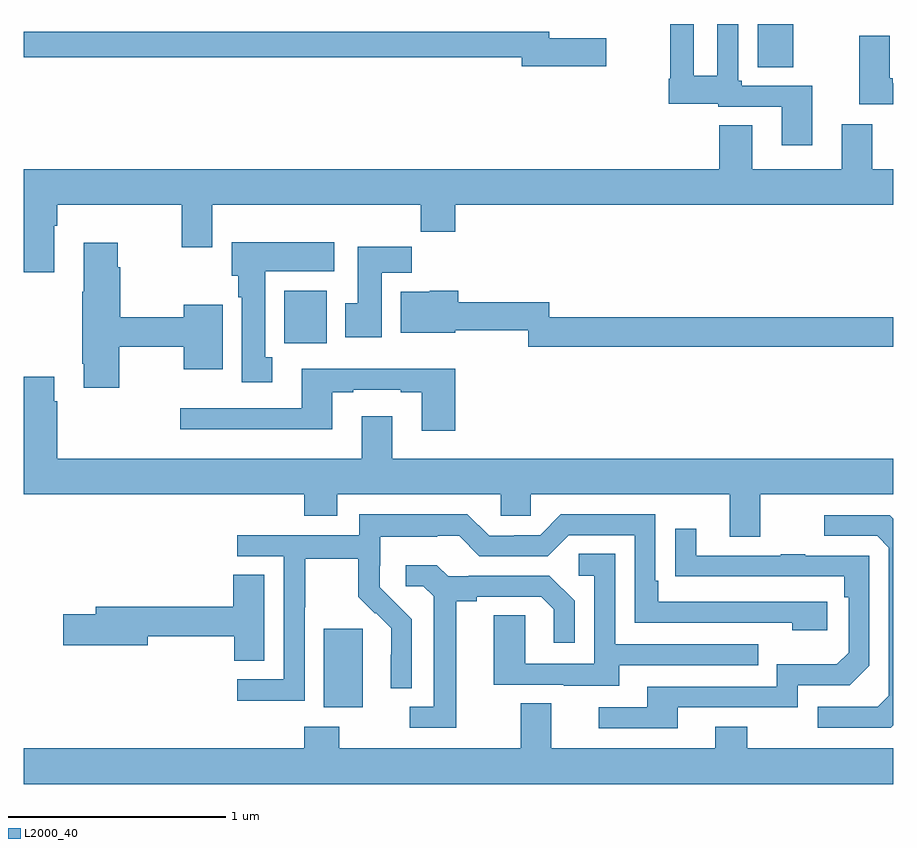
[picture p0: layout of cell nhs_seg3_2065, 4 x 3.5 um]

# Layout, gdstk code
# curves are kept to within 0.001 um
import gdstk
lib = gdstk.Library(unit=1e-6, precision=1e-09)
def R(c, l, rs):  # rectangles x0, y0, x1, y1
    for r in rs: c.add(gdstk.rectangle(r[:2], r[2:], *l))
def P(c, l, *ps):  # polygons
    for p in ps: c.add(gdstk.Polygon(p, *l))
L2000_40 = (2000, 40)

nhs_seg3_2065 = lib.new_cell('nhs_seg3_2065')
R(nhs_seg3_2065, L2000_40, [(218.381,713.258,218.56,713.619), (218.198,714.932,218.395,715.174), (220.376,716.2,220.54,716.4)])
P(nhs_seg3_2065, L2000_40, [(220.627,716.115),(220.302,716.115),(220.302,716.139),(220.287,716.139),(220.287,716.4),(220.191,716.4),(220.191,716.162),(220.083,716.162),(220.083,716.4),(219.975,716.4),(219.975,716.149),(219.967,716.149),(219.967,716.034),(220.194,716.034),(220.194,716.019),(220.487,716.019),(220.487,715.842),(220.627,715.842)],
  [(219.679,716.335),(219.418,716.335),(219.418,716.364),(217,716.364),(217,716.248),(219.29,716.248),(219.29,716.206),(219.679,716.206)],
  [(221,716.127),(220.998,716.127),(220.998,716.151),(220.984,716.151),(220.984,716.345),(220.844,716.345),(220.844,716.031),(221,716.031)],
  [(217.141,715.472),(217.154,715.472),(217.154,715.568),(217.727,715.568),(217.727,715.374),(217.867,715.374),(217.867,715.568),(218.827,715.568),(218.827,715.444),(218.984,715.444),(218.984,715.568),(221,715.568),(221,715.732),(220.903,715.732),(220.903,715.939),(220.763,715.939),(220.763,715.732),(220.351,715.732),(220.351,715.934),(220.199,715.934),(220.199,715.732),(217,715.732),(217,715.369),(217.001,715.369),(217.001,715.257),(217.141,715.257)],
  [(218.143,714.866),(218.11,714.866),(218.11,715.262),(218.428,715.262),(218.428,715.396),(217.958,715.396),(217.958,715.242),(217.988,715.242),(217.988,715.142),(218.003,715.142),(218.003,714.753),(218.143,714.753)],
  [(217.44,714.916),(217.736,714.916),(217.736,714.812),(217.915,714.812),(217.915,715.108),(217.736,715.108),(217.736,715.052),(217.445,715.052),(217.445,715.28),(217.432,715.28),(217.432,715.393),(217.277,715.393),(217.277,715.169),(217.27,715.169),(217.27,714.838),(217.277,714.838),(217.277,714.726),(217.44,714.726)],
  [(218.647,715.256),(218.786,715.256),(218.786,715.375),(218.537,715.375),(218.537,715.116),(218.48,715.116),(218.48,714.96),(218.647,714.96)],
  [(221,715.052),(219.417,715.052),(219.417,715.12),(218.999,715.12),(218.999,715.174),(218.868,715.174),(218.868,715.168),(218.735,715.168),(218.735,714.98),(218.986,714.98),(218.986,714.991),(219.321,714.991),(219.321,714.916),(221,714.916)],
  [(218.984,714.814),(218.279,714.814),(218.279,714.633),(217.719,714.633),(217.719,714.536),(218.419,714.536),(218.419,714.705),(218.515,714.705),(218.515,714.717),(218.735,714.717),(218.735,714.705),(218.831,714.705),(218.831,714.528),(218.984,714.528)],
  [(220.387,714.236),(221,714.236),(221,714.4),(218.695,714.4),(218.695,714.595),(218.555,714.595),(218.555,714.4),(217.154,714.4),(217.154,714.665),(217.141,714.665),(217.141,714.778),(217.001,714.778),(217.001,714.4),(217,714.4),(217,714.236),(218.291,714.236),(218.291,714.137),(218.443,714.137),(218.443,714.236),(219.195,714.236),(219.195,714.138),(219.333,714.138),(219.333,714.236),(220.247,714.236),(220.247,714.042),(220.387,714.042)],
  [(218.292,713.716),(218.295,713.716),(218.295,713.94),(218.539,713.94),(218.539,713.765),(218.616,713.688),(218.619,713.691),(218.69,713.621),(218.69,713.498),(218.688,713.498),(218.688,713.344),(218.784,713.344),(218.784,713.662),(218.638,713.81),(218.638,713.907),(218.64,713.907),(218.64,714.041),(218.903,714.041),(218.903,714.045),(219.003,714.045),(219.096,713.952),(219.411,713.952),(219.507,714.048),(219.81,714.048),(219.81,713.646),(220.535,713.646),(220.535,713.612),(220.696,713.612),(220.696,713.742),(219.919,713.742),(219.919,713.839),(219.906,713.839),(219.906,714.144),(219.471,714.144),(219.375,714.048),(219.257,714.048),(219.257,714.045),(219.141,714.045),(219.041,714.145),(218.544,714.145),(218.544,714.048),(217.983,714.048),(217.983,713.952),(218.196,713.952),(218.196,713.385),(217.983,713.385),(217.983,713.287),(218.292,713.287)],
  [(221,713.174),(221,714.124),(220.983,714.141),(220.683,714.141),(220.683,714.045),(220.926,714.045),(220.98,713.991),(220.98,713.31),(220.929,713.259),(220.653,713.259),(220.653,713.163),(220.989,713.163)],
  [(220.009,713.256),(220.56,713.256),(220.56,713.358),(220.8,713.358),(220.89,713.448),(220.89,713.955),(220.595,713.955),(220.595,713.96),(220.483,713.96),(220.483,713.955),(220.093,713.955),(220.093,714.079),(219.997,714.079),(219.997,713.86),(220.774,713.859),(220.774,713.762),(220.794,713.762),(220.794,713.508),(220.741,713.455),(220.464,713.455),(220.464,713.352),(219.869,713.352),(219.869,713.256),(219.645,713.256),(219.645,713.16),(220.009,713.16)],
  [(219.739,713.451),(220.379,713.451),(220.379,713.547),(219.72,713.547),(219.72,713.963),(219.552,713.963),(219.552,713.862),(219.624,713.862),(219.624,713.457),(219.306,713.457),(219.306,713.681),(219.161,713.681),(219.161,713.361),(219.485,713.361),(219.485,713.357),(219.739,713.357)],
  [(218.989,713.744),(219.085,713.744),(219.085,713.766),(219.38,713.766),(219.437,713.709),(219.437,713.553),(219.534,713.553),(219.534,713.746),(219.418,713.862),(219.046,713.862),(219.046,713.859),(218.952,713.859),(218.9,713.911),(218.757,713.911),(218.757,713.814),(218.838,713.814),(218.885,713.767),(218.885,713.259),(218.775,713.259),(218.775,713.163),(218.989,713.163)],
  [(218.107,713.867),(217.964,713.867),(217.964,713.72),(217.331,713.72),(217.331,713.684),(217.182,713.684),(217.182,713.542),(217.57,713.542),(217.57,713.584),(217.969,713.584),(217.969,713.47),(218.107,713.47)],
  [(221,713.068),(220.329,713.068),(220.329,713.167),(220.181,713.167),(220.181,713.068),(219.427,713.068),(219.427,713.276),(219.287,713.276),(219.287,713.068),(218.451,713.068),(218.451,713.167),(218.291,713.167),(218.291,713.068),(217,713.068),(217,712.904),(221,712.904)])

lib.write_gds('nhs_seg3_2065.gds')
